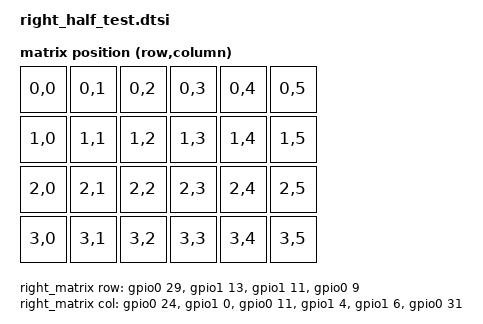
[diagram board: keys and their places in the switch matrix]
#include <dt-bindings/zmk/matrix_transform.h>
#include <zephyr/dt-bindings/gpio/gpio.h>

/ {
    right_matrix: right_matrix {
        compatible = "zmk,kscan-gpio-matrix";
        diode-direction = "col2row";
        row-gpios = <&gpio0 29 (GPIO_ACTIVE_HIGH | GPIO_PULL_DOWN)>,
                    <&gpio1 13 (GPIO_ACTIVE_HIGH | GPIO_PULL_DOWN)>,
                    <&gpio1 11 (GPIO_ACTIVE_HIGH | GPIO_PULL_DOWN)>,
                    <&gpio0 9 (GPIO_ACTIVE_HIGH | GPIO_PULL_DOWN)>;
        col-gpios = <&gpio0 24 (GPIO_ACTIVE_HIGH)>,
                    <&gpio1 0 (GPIO_ACTIVE_HIGH)>,
                    <&gpio0 11 (GPIO_ACTIVE_HIGH)>,
                    <&gpio1 4 (GPIO_ACTIVE_HIGH)>,
                    <&gpio1 6 (GPIO_ACTIVE_HIGH)>,
                    <&gpio0 31 (GPIO_ACTIVE_HIGH)>;
    };

    default_transform: keymap_transform {
        compatible = "zmk,matrix-transform";
        rows = <4>;
        columns = <6>;
        map = <
            RC(0,0) RC(0,1) RC(0,2) RC(0,3) RC(0,4) RC(0,5)
            RC(1,0) RC(1,1) RC(1,2) RC(1,3) RC(1,4) RC(1,5)
            RC(2,0) RC(2,1) RC(2,2) RC(2,3) RC(2,4) RC(2,5)
            RC(3,0) RC(3,1) RC(3,2) RC(3,3) RC(3,4) RC(3,5)
        >;
    };

    physical_layouts {
        compatible = "zmk,physical-layouts";
        default_layout: default_layout {
            compatible = "zmk,physical-layout";
            display-name = "Right Half Test";
            kscan = <&right_matrix>;
            transform = <&default_transform>;
        };
    };

    chosen { zmk,physical-layout = &default_layout; };
};
